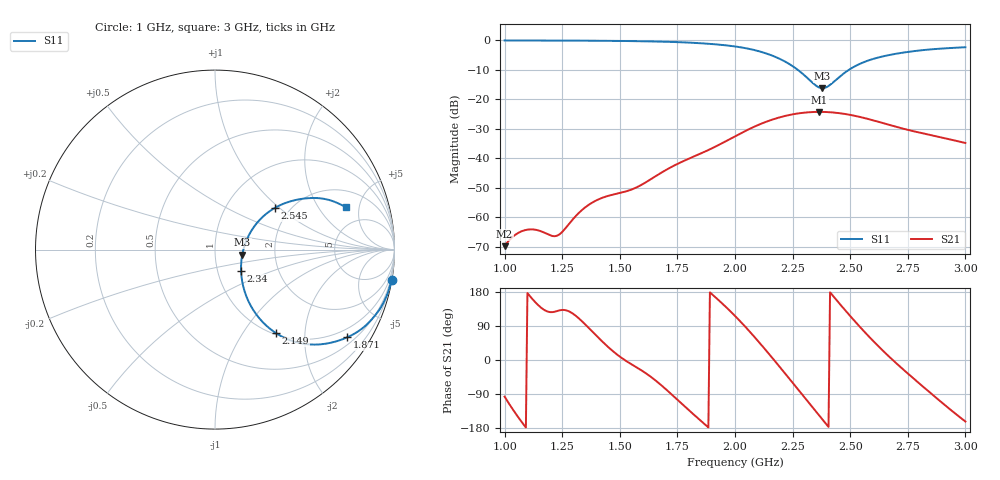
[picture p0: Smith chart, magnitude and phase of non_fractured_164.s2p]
! TOUCHSTONE file generated by CST MICROWAVE STUDIO
! Date and time: Sat Mar  8 13:55:09 2025
! Project name: non_fractured.cst
! Parameters = {B=2.5; D=160; F=5; Feed=2.85625; L=100; M=20; R=0.384908; S=1; Theta=270; length=57.125; wave=114.25}
! Header version: 2024
! Port assignment regex: !\s*Touchstone port\s*([0-9]+)\s*=\s*(CST MWS port|CST DES external port|CST DES block port)\s*(.+)\s* \(\"(.*)\"\)(\s*mode\s*([0-9]+))?.*
! Touchstone port assignment:
! Touchstone port 1 = CST MWS port 1 ("")
! Touchstone port 2 = CST MWS port 2 ("")
# GHz S DB R 50
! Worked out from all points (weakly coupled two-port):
!   304 points, 1 GHz to 3 GHz, reference 50 ohm
!   highest |S21| = -24.24 dB at 2.366 GHz (marker M1); lowest = -69.8 dB at 1 GHz (marker M2)
!   lowest |S11| = -16.2 dB at 2.38 GHz (marker M3), VSWR 1.37, Z = 67.8 - j3.96 ohm
!   |S11| at or under -10 dB: 2.273 GHz to 2.494 GHz (221.2 MHz wide, 9.28 % of centre)
!   S12 and S22 are empty: the file has one direction only
!   S11 on the Smith chart (normalised r, x): 1 GHz: 0, -12; 1.871 GHz: 0.71, -3.18; 2.149 GHz: 1.02, -1.43; 2.34 GHz: 1.30, -0.31; 2.545 GHz: 1.67, +0.93; 3 GHz: 3.19, +3.65
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1  -0.02 -9.7  -69.80 -96.7  -200.00 0.0  -200.00 0.0
1.0396  -0.02 -10.3  -66.33 -133.9  -200.00 0.0  -200.00 0.0
1.09241  -0.03 -11.0  -64.29 -178.2  -200.00 0.0  -200.00 0.0
1.13201  -0.04 -11.6  -64.20 153.2  -200.00 0.0  -200.00 0.0
1.20462  -0.05 -12.7  -66.29 126.2  -200.00 0.0  -200.00 0.0
1.23102  -0.05 -13.2  -66.12 129.7  -200.00 0.0  -200.00 0.0
1.33663  -0.09 -15.2  -57.48 101.8  -200.00 0.0  -200.00 0.0
1.40264  -0.12 -16.6  -54.09 61.6  -200.00 0.0  -200.00 0.0
1.56106  -0.24 -20.7  -50.27 -15.1  -200.00 0.0  -200.00 0.0
1.66667  -0.40 -24.1  -45.52 -59.7  -200.00 0.0  -200.00 0.0
1.87129  -1.07 -33.5  -37.67 -170.9  -200.00 0.0  -200.00 0.0
2.0033  -2.09 -42.2  -32.39 114.3  -200.00 0.0  -200.00 0.0
2.14851  -4.78 -53.8  -27.22 15.3  -200.00 0.0  -200.00 0.0
2.24752  -8.60 -57.5  -25.12 -58.1  -200.00 0.0  -200.00 0.0
2.33993  -14.60 -38.7  -24.28 -127.6  -200.00 0.0  -200.00 0.0
2.36634  -16.01 -21.3  -24.24 -147.3  -200.00 0.0  -200.00 0.0
2.37954  -16.22 -10.6  -24.25 -157.1  -200.00 0.0  -200.00 0.0
2.40594  -15.46 9.4  -24.33 -176.6  -200.00 0.0  -200.00 0.0
2.46535  -11.61 31.4  -24.81 140.4  -200.00 0.0  -200.00 0.0
2.54455  -7.86 34.9  -26.00 85.8  -200.00 0.0  -200.00 0.0
2.66997  -4.95 30.1  -28.68 8.3  -200.00 0.0  -200.00 0.0
3  -2.32 18.0  -34.79 -162.3  -200.00 0.0  -200.00 0.0
